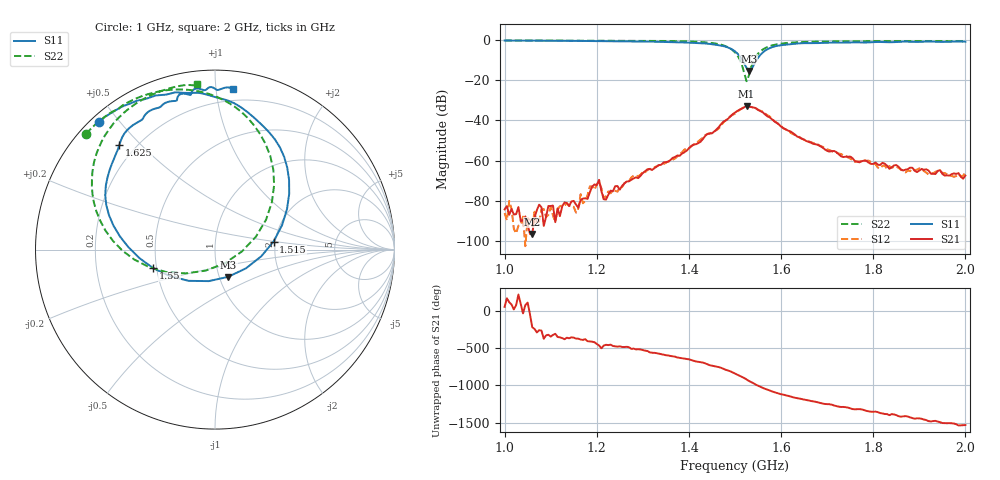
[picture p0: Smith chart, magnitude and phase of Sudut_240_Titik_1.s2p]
# Hz S RI R 50
! CMT, C1220, 16058040, 17.2.0/1
! Date: 14/08/2018 12:57:40
! Data: Format (Calibration Info)
! Freq  S11: Re/Im (F2)  S21: Re/Im (F2)  S12: Re/Im (F2)  S22: Re/Im (F2)
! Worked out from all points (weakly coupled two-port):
!   201 points, 1 GHz to 2 GHz, reference 50 ohm
!   highest |S21| = -32.88 dB at 1.525 GHz (marker M1); lowest = -96.5 dB at 1.06 GHz (marker M2)
!   lowest |S11| = -15.5 dB at 1.53 GHz (marker M3), VSWR 1.41, Z = 55.1 - j17.2 ohm
!   |S11| at or under -10 dB: 1.516 GHz to 1.547 GHz (31.03 MHz wide, 2.03 % of centre)
!   |S22| runs from -20.6 to -0.3 dB; largest |S21 - S12| = 0.00093
!   S11 on the Smith chart (normalised r, x): 1 GHz: 0.02, +0.44; 1.515 GHz: 1.96, +0.20; 1.55 GHz: 0.48, -0.11; 1.625 GHz: 0.14, +0.43; 2 GHz: 0.12, +1.11
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1e9  -0.6469 0.7119  3.96e-05 4.67e-05  4.54e-05 1.87e-05  -0.7193 0.6456
1.06e9  -0.5832 0.7572  -1.08e-05 1.02e-05  2.36e-05 -1.2e-06  -0.6757 0.6885
1.16e9  -0.4725 0.8136  6.47e-05 -1.85e-05  6.13e-05 2.1e-05  -0.5876 0.759
1.165e9  -0.4666 0.8161  9.15e-05 -5e-05  0.000116 -8.89e-05  -0.5823 0.7624
1.17e9  -0.4602 0.819  9.57e-05 -6.13e-05  7.67e-05 -4.03e-05  -0.5768 0.7655
1.185e9  -0.438 0.828  9.8e-05 -0.00013  0.000171 -0.000151  -0.5597 0.7741
1.205e9  -0.4096 0.8344  -9.75e-05 -0.000317  -0.000105 -0.000272  -0.5406 0.7783
1.215e9  -0.3959 0.8371  -3.71e-05 -0.000103  -1.25e-05 -0.000117  -0.5353 0.7858
1.22e9  -0.3881 0.8391  -1.59e-05 -0.000106  -4.83e-05 -0.000121  -0.531 0.7908
1.24e9  -0.3549 0.8504  -0.000114 -0.0002  -5.74e-05 -0.000168  -0.5078 0.8075
1.335e9  -0.1875 0.874  -0.000615 0.000464  -0.000586 0.000506  -0.3602 0.8698
1.45e9  0.1945 0.7549  0.00453 -0.00145  0.00458 -0.00175  0.0468 0.8335
1.5e9  0.4135 0.3107  -0.00835 -0.0131  -0.00787 -0.0123  0.3294 0.3595
1.515e9  0.3263 0.0451  -0.0191 -0.00428  -0.0192 -0.00485  0.2277 0.0715
1.525e9  0.173 -0.1041  -0.0211 0.00842  -0.0214 0.00841  0.0563 -0.075
1.53e9  0.0733 -0.1519  -0.0165 0.0145  -0.0166 0.0146  -0.0522 -0.1171
1.55e9  -0.3447 -0.1031  0.00498 0.0175  0.00425 0.0177  -0.4493 -0.0555
1.58e9  -0.6059 0.2493  0.0107 -0.000319  0.0111 -0.000709  -0.6753 0.2648
1.625e9  -0.5326 0.5835  0.00096 -0.00478  0.00103 -0.00446  -0.6498 0.5613
1.67e9  -0.4174 0.7167  -0.00184 -0.00183  -0.00195 -0.0019  -0.567 0.7011
1.835e9  -0.1374 0.8613  0.000477 0.0004  0.000403 0.000607  -0.3151 0.8778
2e9  0.0982 0.8952  -1.82e-05 -0.000422  -4.08e-05 -0.000523  -0.0978 0.9224
